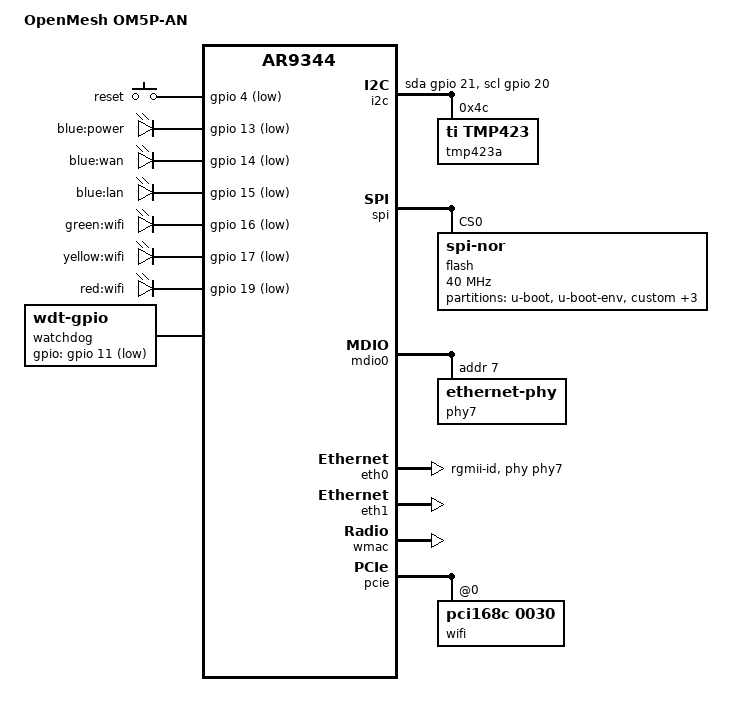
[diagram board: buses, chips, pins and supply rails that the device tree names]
// SPDX-License-Identifier: GPL-2.0-or-later OR MIT

#include "ar9344.dtsi"

#include <dt-bindings/gpio/gpio.h>
#include <dt-bindings/input/input.h>

/ {
	compatible = "openmesh,om5p-an", "qca,ar9344";
	model = "OpenMesh OM5P-AN";

	chosen {
		/delete-property/ bootargs;
	};

	aliases {
		led-boot = &led_power_blue;
		led-failsafe = &led_power_blue;
		led-running = &led_power_blue;
		led-upgrade = &led_power_blue;
		label-mac-device = &eth0;
	};

	keys {
		compatible = "gpio-keys";

		reset {
			label = "reset";
			linux,code = <KEY_RESTART>;
			gpios = <&gpio 4 GPIO_ACTIVE_LOW>;
		};
	};

	leds {
		compatible = "gpio-leds";

		pinctrl-names = "default";
		pinctrl-0 = <&led_lan_wan_blue_pin>;

		led_power_blue: power_blue {
			label = "blue:power";
			gpios = <&gpio 13 GPIO_ACTIVE_LOW>;
			default-state = "on";
		};

		wan_blue {
			label = "blue:wan";
			gpios = <&gpio 14 GPIO_ACTIVE_LOW>;
		};

		lan_blue {
			label = "blue:lan";
			gpios = <&gpio 15 GPIO_ACTIVE_LOW>;
		};

		wifi_green {
			label = "green:wifi";
			gpios = <&gpio 16 GPIO_ACTIVE_LOW>;
			linux,default-trigger = "phy0tpt";
		};

		wifi_yellow {
			label = "yellow:wifi";
			gpios = <&gpio 17 GPIO_ACTIVE_LOW>;
		};

		wifi_red {
			label = "red:wifi";
			gpios = <&gpio 19 GPIO_ACTIVE_LOW>;
		};
	};

	i2c {
		compatible = "i2c-gpio";
		gpios = <&gpio 21 GPIO_ACTIVE_HIGH /* sda */
			 &gpio 20 GPIO_ACTIVE_HIGH /* scl */
			>;
		#address-cells = <1>;
		#size-cells = <0>;

		i2c-gpio,scl-open-drain;
		i2c-gpio,sda-open-drain;

		tmp423a@4c {
			compatible = "ti,tmp423";
			reg = <0x4c>;
		};
	};

	watchdog {
		compatible = "linux,wdt-gpio";
		gpios = <&gpio 11 GPIO_ACTIVE_LOW>;
		hw_algo = "toggle";
		/* hw_margin_ms is actually 300s but driver limits it to 60s */
		hw_margin_ms = <60000>;
		always-running;
	};
};

&ref {
	clock-frequency = <40000000>;
};

&pinmux {
	led_lan_wan_blue_pin: pinmux_lan_wan_blue_pin {
		pinctrl-single,bits = <0xc 0x0 0xffff0000>;
	};
};

&spi {
	status = "okay";

	flash@0 {
		compatible = "jedec,spi-nor";
		reg = <0>;
		spi-max-frequency = <40000000>;

		/* partitions are passed via bootloader */
		partitions {
			compatible = "fixed-partitions";
			#address-cells = <1>;
			#size-cells = <1>;

			partition@0 {
				label = "u-boot";
				reg = <0x000000 0x040000>;
				read-only;
			};

			partition@40000 {
				label = "u-boot-env";
				reg = <0x040000 0x010000>;
			};

			partition@50000 {
				label = "custom";
				reg = <0x050000 0x060000>;
				read-only;
			};

			partition@b0000 {
				label = "inactive";
				reg = <0x0b0000 0x7a0000>;
			};

			partition@850000 {
				label = "inactive2";
				reg = <0x850000 0x7a0000>;
			};

			art: partition@ff0000 {
				label = "ART";
				reg = <0xff0000 0x010000>;
				read-only;
			};
		};
	};
};

&mdio0 {
	status = "okay";

	phy-mask = <0x80>;

	phy7: ethernet-phy@7 {
		reg = <7>;
		eee-broken-100tx;
		eee-broken-1000t;
	};
};

&eth0 {
	status = "okay";

	pll-data = <0x02000000 0x00000101 0x00001313>;

	nvmem-cells = <&macaddr_art_0>;
	nvmem-cell-names = "mac-address";

	phy-mode = "rgmii-id";
	phy-handle = <&phy7>;

	gmac-config {
		device = <&gmac>;
		rgmii-gmac0 = <1>;
		rxd-delay = <2>;
		rxdv-delay = <2>;
		switch-phy-swap = <1>;
	};
};

&eth1 {
	status = "okay";

	nvmem-cells = <&macaddr_art_0>;
	nvmem-cell-names = "mac-address";
	mac-address-increment = <1>;
};

&wmac {
	status = "okay";

	mtd-cal-data = <&art 0x1000>;
	nvmem-cells = <&macaddr_art_0>;
	nvmem-cell-names = "mac-address";
	mac-address-increment = <2>;
};

&pcie {
	status = "okay";

	wifi@0,0 {
		compatible = "pci168c,0030";
		reg = <0x0000 0 0 0 0>;
		qca,no-eeprom;
		nvmem-cells = <&macaddr_art_0>;
		nvmem-cell-names = "mac-address";
		mac-address-increment = <16>;
	};
};

&art {
	compatible = "nvmem-cells";
	#address-cells = <1>;
	#size-cells = <1>;

	macaddr_art_0: macaddr@0 {
		reg = <0x0 0x6>;
	};
};
